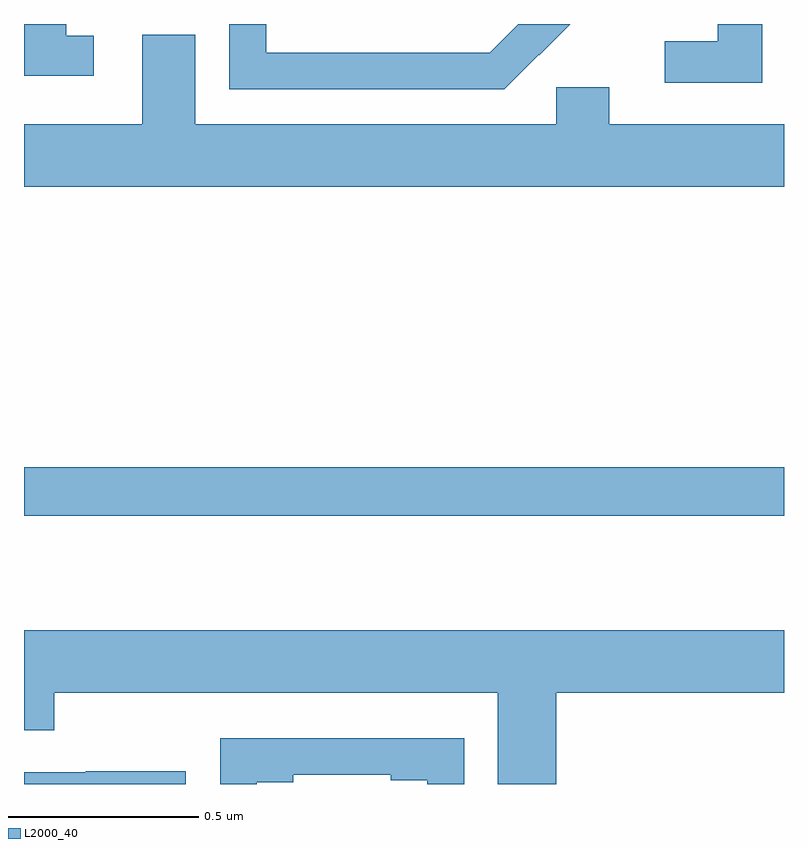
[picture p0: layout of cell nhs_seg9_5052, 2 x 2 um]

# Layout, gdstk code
import gdstk
lib = gdstk.Library(unit=1e-6, precision=1e-09)
def R(c, l, rs):  # rectangles x0, y0, x1, y1
    for r in rs: c.add(gdstk.rectangle(r[:2], r[2:], *l))
def P(c, l, *ps):  # polygons
    for p in ps: c.add(gdstk.Polygon(p, *l))
L2000_40 = (2000, 40)

nhs_seg9_5052 = lib.new_cell('nhs_seg9_5052')
R(nhs_seg9_5052, L2000_40, [(174,1210.206,176,1210.334)])
P(nhs_seg9_5052, L2000_40, [(175.943,1211.5),(175.826,1211.5),(175.826,1211.455),(175.686,1211.455),(175.686,1211.346),(175.943,1211.346)],
  [(175.355,1211.419),(175.356,1211.418),(175.438,1211.5),(175.3,1211.5),(175.225,1211.425),(175.121,1211.425),(175.121,1211.424),(174.637,1211.424),(174.637,1211.5),(174.54,1211.5),(174.54,1211.328),(175.264,1211.328)],
  [(174.184,1211.469),(174.111,1211.469),(174.111,1211.5),(174,1211.5),(174,1211.364),(174.184,1211.364)],
  [(176,1211.236),(175.54,1211.236),(175.54,1211.334),(175.401,1211.334),(175.401,1211.236),(174.451,1211.236),(174.451,1211.472),(174.311,1211.472),(174.311,1211.236),(174,1211.236),(174,1211.072),(176,1211.072)],
  [(175.4,1209.74),(176,1209.74),(176,1209.904),(174,1209.904),(174,1209.642),(174.08,1209.642),(174.08,1209.74),(175.247,1209.74),(175.247,1209.5),(175.4,1209.5)],
  [(174.613,1209.505),(174.709,1209.505),(174.709,1209.525),(174.965,1209.525),(174.965,1209.51),(175.061,1209.51),(175.061,1209.5),(175.158,1209.5),(175.158,1209.621),(174.516,1209.621),(174.516,1209.5),(174.613,1209.5)],
  [(174.426,1209.533),(174.163,1209.533),(174.163,1209.531),(174,1209.531),(174,1209.5),(174.426,1209.5)])

lib.write_gds('nhs_seg9_5052.gds')
